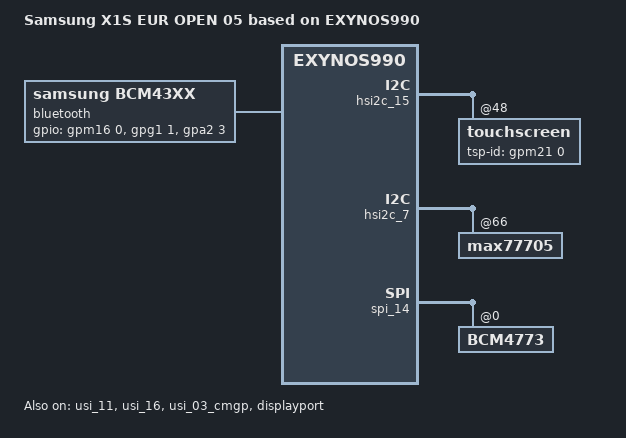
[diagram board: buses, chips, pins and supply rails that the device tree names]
/*
 * SAMSUNG EXYNOS990 board device tree source
 *
 * Copyright (c) 2019 Samsung Electronics Co., Ltd.
 *		http://www.samsung.com
 *
 * This program is free software; you can redistribute it and/or modify
 * it under the terms of the GNU General Public License version 2 as
 * published by the Free Software Foundation.
*/

/dts-v1/;
/plugin/;
#include "exynos9830-x1s_pm_05.dtsi"
#include "exynos990-x1s_common.dtsi"
#include "exynos9830-picasso_nfc_03.dtsi"
#include "../exynos/exynos9830-universal9830-cp-s5123-sipc.dtsi"
#include <dt-bindings/gpio/gpio.h>
#include "exynos9830-sensorhub_03.dtsi"
#include "exynos9830-hubblex1_fingerprint_00.dtsi"
#include "battery_data_hubblex1_00.dtsi"

#define BOARD_ID	0x10
#define BOARD_REV	0x0

/ {
	compatible = "samsung,X1S EUR OPEN 05", "samsung,EXYNOS990";
	dtbo-hw_rev = <5>;
	dtbo-hw_rev_end = <5>;
	edtbo-rev = <0>;

	fragment@model {
		target-path = "/";
		__overlay__ {
			#address-cells = <2>;
			#size-cells = <1>;

			model = "Samsung X1S EUR OPEN 05 based on EXYNOS990";

			acpm_ipc {
				compatible = "samsung,exynos-acpm-ipc";
				board-id = <BOARD_ID>;
				board-rev = <BOARD_REV>;
			};

			pinctrl@15C30000 {
				bt_en: bt-en {
					samsung,pins = "gpm16-0";
					samsung,pin-function = <1>;
					samsung,pin-pud = <0>;
					samsung,pin-con-pdn = <3>;
					samsung,pin-pud-pdn = <0>;
				};
			};

			pinctrl@15850000 {
				bt_hostwake: bt-hostwake {
					samsung,pins = "gpa2-3";
					samsung,pin-function = <0xF>;
					samsung,pin-pud = <1>;
				};
			};

			pinctrl@10730000 {
				bt_btwake: bt-btwake {
					samsung,pins = "gpg1-1";
					samsung,pin-function = <1>;
					samsung,pin-pud = <0>;
					samsung,pin-con-pdn = <3>;
					samsung,pin-pud-pdn = <0>;
				};
			};

			bluetooth {
				compatible = "samsung,bcm43xx";
				gpios = <&gpm16 0 GPIO_ACTIVE_HIGH    /*BT_EN*/
				&gpg1 1 GPIO_ACTIVE_HIGH    /*BT_WAKE*/
				&gpa2 3 GPIO_ACTIVE_HIGH    /*BT_HOST_WAKE*/ >;
				pinctrl-names = "default";
				pinctrl-0=<&bt_en &bt_hostwake &bt_btwake>;
				status = "okay";
			};
		}; /* end of __overlay__ */
	}; /* end of fragment */
}; /* end of root */

&panel_0 {
	/* reset, power */
	gpios = <&gpa3 4 0x1>;
};

&chosen {
	bootargs_ext = "root=/dev/ram0 androidboot.boot_devices=13100000.ufs";
};

&usi_11 {
	usi_v2_mode = "i2c";
	status = "okay";
};

&usi_16 {
	usi_v2_mode = "spi";
	status = "okay";
};

&usi_03_cmgp {
	usi_v2_mode = "i2c";
	status = "okay";
};

&pinctrl_1 {
	tsp_id: tsp-id {
		samsung,pins = "gpm21-0";
		samsung,pin-function = <0>;
		samsung,pin-pud = <0>;
		samsung,pin-drv = <0>;
	};
};

&hsi2c_15 {
	touchscreen@48 {
		pinctrl-0 = <&attn_irq &tsp_id>;
		pinctrl-1 = <&attn_input &tsp_id>;
		sec,tsp-id_gpio = <&gpm21 0 0>;
		sec,firmware_name = "tsp_sec/y771_y2_ub.bin", "tsp_sec/y79a_x1_ub.bin";
	};
};

&hsi2c_7 {
	max77705@66 {
		max77705,extra_fw_enable = <1>;
	};
};

&pcie_2 {
	chip-ver = <1>;
};

&ufs {
	/* board type for UFS CAL */
	evt-ver = /bits/ 8 <1>;
};

&pinctrl_5 {
	aux_oe: aux-oe {
		samsung,pins = "gpp6-2";
		samsung,pin-function = <1>;
		samsung,pin-pud = <0>;
		samsung,pin-con-pdn = <3>;
		samsung,pin-pud-pdn = <0>;
		};

	sbu_sel: sbu-sel {
		samsung,pins = "gpp6-1";
		samsung,pin-function = <1>;
		samsung,pin-pud = <0>;
		samsung,pin-con-pdn = <3>;
		samsung,pin-pud-pdn = <0>;
		};
};

&displayport {
	status = "okay";
	dp,aux_sw_oe = <&gpp6 2 0>;
	dp,sbu_sw_sel = <&gpp6 1 0>;
	dp,usb_con_sel = <&gpm26 0 0>;

	pinctrl-names = "default";
	pinctrl-0 = <&aux_oe &sbu_sel>;
};

&spi_14 {
        BCM4773@0 {
        	ssp-mag-array = /bits/ 8 <153 82 4 239 242 224 0 207 211 55 5 189 207 202 255 71 255 86 160 91 190 252 4 15 10 190 188>;
        };
};
